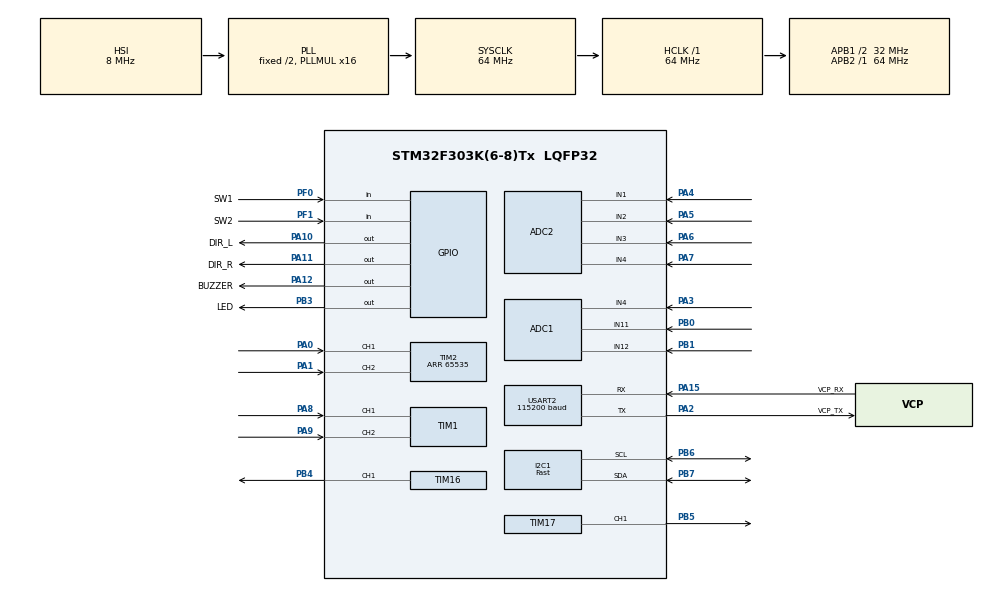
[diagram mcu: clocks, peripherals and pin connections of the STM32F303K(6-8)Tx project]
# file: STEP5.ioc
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ADC1.Channel-3\#ChannelRegularConversion=ADC_CHANNEL_4
ADC1.Channel-4\#ChannelRegularConversion=ADC_CHANNEL_11
ADC1.Channel-5\#ChannelRegularConversion=ADC_CHANNEL_12
ADC1.ContinuousConvMode=DISABLE
ADC1.DMAContinuousRequests=ENABLE
ADC1.DiscontinuousConvMode=ENABLE
ADC1.ExternalTrigConv=ADC_EXTERNALTRIGCONV_T3_TRGO
ADC1.NbrOfConversion=3
ADC1.NbrOfConversionFlag=1
ADC1.NbrOfDiscConversion=3
ADC1.Offset-3\#ChannelRegularConversion=0
ADC1.Offset-4\#ChannelRegularConversion=0
ADC1.Offset-5\#ChannelRegularConversion=0
ADC1.OffsetNumber-3\#ChannelRegularConversion=ADC_OFFSET_NONE
ADC1.OffsetNumber-4\#ChannelRegularConversion=ADC_OFFSET_NONE
ADC1.OffsetNumber-5\#ChannelRegularConversion=ADC_OFFSET_NONE
ADC1.Rank-3\#ChannelRegularConversion=1
ADC1.Rank-4\#ChannelRegularConversion=2
ADC1.Rank-5\#ChannelRegularConversion=3
ADC1.SamplingTime-3\#ChannelRegularConversion=ADC_SAMPLETIME_4CYCLES_5
ADC1.SamplingTime-4\#ChannelRegularConversion=ADC_SAMPLETIME_4CYCLES_5
ADC1.SamplingTime-5\#ChannelRegularConversion=ADC_SAMPLETIME_4CYCLES_5
ADC1.SubFamily=STM32F303x8
ADC1.master=1
ADC2.Channel-3\#ChannelRegularConversion=ADC_CHANNEL_1
ADC2.Channel-4\#ChannelRegularConversion=ADC_CHANNEL_2
ADC2.Channel-5\#ChannelRegularConversion=ADC_CHANNEL_3
ADC2.Channel-6\#ChannelRegularConversion=ADC_CHANNEL_4
ADC2.ContinuousConvMode=DISABLE
ADC2.DMAContinuousRequests=ENABLE
ADC2.DiscontinuousConvMode=ENABLE
ADC2.ExternalTrigConv=ADC_EXTERNALTRIGCONV_T3_TRGO
ADC2.NbrOfConversion=4
ADC2.NbrOfConversionFlag=1
ADC2.NbrOfDiscConversion=4
ADC2.Offset-3\#ChannelRegularConversion=0
ADC2.Offset-4\#ChannelRegularConversion=0
ADC2.Offset-5\#ChannelRegularConversion=0
ADC2.Offset-6\#ChannelRegularConversion=0
ADC2.OffsetNumber-3\#ChannelRegularConversion=ADC_OFFSET_NONE
ADC2.OffsetNumber-4\#ChannelRegularConversion=ADC_OFFSET_NONE
ADC2.OffsetNumber-5\#ChannelRegularConversion=ADC_OFFSET_NONE
ADC2.OffsetNumber-6\#ChannelRegularConversion=ADC_OFFSET_NONE
ADC2.Rank-3\#ChannelRegularConversion=1
ADC2.Rank-4\#ChannelRegularConversion=2
ADC2.Rank-5\#ChannelRegularConversion=3
ADC2.Rank-6\#ChannelRegularConversion=4
ADC2.SamplingTime-3\#ChannelRegularConversion=ADC_SAMPLETIME_4CYCLES_5
ADC2.SamplingTime-4\#ChannelRegularConversion=ADC_SAMPLETIME_4CYCLES_5
ADC2.SamplingTime-5\#ChannelRegularConversion=ADC_SAMPLETIME_4CYCLES_5
ADC2.SamplingTime-6\#ChannelRegularConversion=ADC_SAMPLETIME_4CYCLES_5
ADC2.SubFamily=STM32F303x8
Dma.ADC1.0.Direction=DMA_PERIPH_TO_MEMORY
Dma.ADC1.0.Instance=DMA1_Channel1
Dma.ADC1.0.MemDataAlignment=DMA_MDATAALIGN_HALFWORD
Dma.ADC1.0.MemInc=DMA_MINC_ENABLE
Dma.ADC1.0.Mode=DMA_CIRCULAR
Dma.ADC1.0.PeriphDataAlignment=DMA_PDATAALIGN_HALFWORD
Dma.ADC1.0.PeriphInc=DMA_PINC_DISABLE
Dma.ADC1.0.Priority=DMA_PRIORITY_LOW
Dma.ADC2.1.Direction=DMA_PERIPH_TO_MEMORY
Dma.ADC2.1.Instance=DMA1_Channel2
Dma.ADC2.1.MemDataAlignment=DMA_MDATAALIGN_HALFWORD
Dma.ADC2.1.MemInc=DMA_MINC_ENABLE
Dma.ADC2.1.Mode=DMA_CIRCULAR
Dma.ADC2.1.PeriphDataAlignment=DMA_PDATAALIGN_HALFWORD
Dma.ADC2.1.PeriphInc=DMA_PINC_DISABLE
Dma.ADC2.1.Priority=DMA_PRIORITY_LOW
Dma.I2C1_RX.2.Direction=DMA_PERIPH_TO_MEMORY
Dma.I2C1_RX.2.Instance=DMA1_Channel3
Dma.I2C1_RX.2.MemDataAlignment=DMA_MDATAALIGN_BYTE
Dma.I2C1_RX.2.MemInc=DMA_MINC_ENABLE
Dma.I2C1_RX.2.Mode=DMA_NORMAL
Dma.I2C1_RX.2.PeriphDataAlignment=DMA_PDATAALIGN_BYTE
Dma.I2C1_RX.2.PeriphInc=DMA_PINC_DISABLE
Dma.I2C1_RX.2.Priority=DMA_PRIORITY_LOW
Dma.I2C1_TX.3.Direction=DMA_MEMORY_TO_PERIPH
Dma.I2C1_TX.3.Instance=DMA1_Channel4
Dma.I2C1_TX.3.MemDataAlignment=DMA_MDATAALIGN_BYTE
Dma.I2C1_TX.3.MemInc=DMA_MINC_ENABLE
Dma.I2C1_TX.3.Mode=DMA_NORMAL
Dma.I2C1_TX.3.PeriphDataAlignment=DMA_PDATAALIGN_BYTE
Dma.I2C1_TX.3.PeriphInc=DMA_PINC_DISABLE
Dma.I2C1_TX.3.Priority=DMA_PRIORITY_LOW
Dma.Request0=ADC1
Dma.Request1=ADC2
Dma.Request2=I2C1_RX
Dma.Request3=I2C1_TX
I2C1.Analog_Filter=I2C_ANALOGFILTER_ENABLE
I2C1.I2C_Speed_Mode=I2C_Fast
I2C1.Speed=400
I2C1.Timing=0x0000020B
Mcu.Family=STM32F3
Mcu.Name=STM32F303K(6-8)Tx
Mcu.Package=LQFP32
NVIC.DMA1_Channel1_IRQn=true\:0\:0\:false\:false\:true\:false\:true\:true
NVIC.DMA1_Channel2_IRQn=true\:0\:0\:false\:false\:true\:false\:true\:true
NVIC.DMA1_Channel3_IRQn=true\:0\:0\:false\:false\:true\:false\:true\:true
NVIC.DMA1_Channel4_IRQn=true\:0\:0\:false\:false\:true\:false\:true\:true
NVIC.I2C1_EV_IRQn=true\:0\:0\:false\:false\:true\:true\:true\:true
NVIC.PriorityGroup=NVIC_PRIORITYGROUP_4
NVIC.TIM6_DAC1_IRQn=true\:0\:0\:false\:false\:true\:true\:true\:true
NVIC.TIM7_DAC2_IRQn=true\:0\:0\:false\:false\:true\:true\:true\:true
PA0.Signal=S_TIM2_CH1_ETR
PA1.Signal=S_TIM2_CH2
PA10.GPIO_Label=DIR_L
PA10.Signal=GPIO_Output
PA11.GPIO_Label=DIR_R
PA11.Signal=GPIO_Output
PA12.GPIO_Label=BUZZER
PA12.Signal=GPIO_Output
PA13.GPIO_Label=SWDIO
PA13.Mode=Serial_Wire
PA13.Signal=SYS_JTMS-SWDIO
PA14.GPIO_Label=SWCLK
PA14.Mode=Serial_Wire
PA14.Signal=SYS_JTCK-SWCLK
PA15.GPIO_Label=VCP_RX
PA15.Mode=Asynchronous
PA15.Signal=USART2_RX
PA2.GPIO_Label=VCP_TX
PA2.Mode=Asynchronous
PA2.Signal=USART2_TX
PA3.Mode=IN4-Single-Ended
PA3.Signal=ADC1_IN4
PA4.Mode=IN1-Single-Ended
PA4.Signal=ADC2_IN1
PA5.Mode=IN2-Single-Ended
PA5.Signal=ADC2_IN2
PA6.Mode=IN3-Single-Ended
PA6.Signal=ADC2_IN3
PA7.Mode=IN4-Single-Ended
PA7.Signal=ADC2_IN4
PA8.Signal=S_TIM1_CH1
PA9.Signal=S_TIM1_CH2
PB0.Mode=IN11-Single-Ended
PB0.Signal=ADC1_IN11
PB1.Mode=IN12-Single-Ended
PB1.Signal=ADC1_IN12
PB3.GPIO_Label=LED
PB3.Signal=GPIO_Output
PB4.Signal=S_TIM16_CH1
PB5.Signal=S_TIM17_CH1
PB6.GPIO_Pu=GPIO_PULLUP
PB6.Mode=I2C
PB6.Signal=I2C1_SCL
PB7.GPIO_Pu=GPIO_PULLUP
PB7.Mode=I2C
PB7.Signal=I2C1_SDA
PF0\ /\ OSC_IN.GPIO_Label=SW1
PF0\ /\ OSC_IN.GPIO_PuPd=GPIO_PULLUP
PF0\ /\ OSC_IN.Signal=GPIO_Input
PF1\ /\ OSC_OUT.GPIO_Label=SW2
PF1\ /\ OSC_OUT.GPIO_PuPd=GPIO_PULLUP
PF1\ /\ OSC_OUT.Signal=GPIO_Input
ProjectManager.HeapSize=0x200
ProjectManager.StackSize=0x400
ProjectManager.TargetToolchain=STM32CubeIDE
RCC.AHBFreq_Value=64000000
RCC.APB1CLKDivider=RCC_HCLK_DIV2
RCC.APB1Freq_Value=32000000
RCC.APB1TimFreq_Value=64000000
RCC.APB2Freq_Value=64000000
RCC.APB2TimFreq_Value=64000000
RCC.CortexFreq_Value=64000000
RCC.HCLKFreq_Value=64000000
RCC.HSE_VALUE=8000000
RCC.HSI_VALUE=8000000
RCC.PLLMUL=RCC_PLL_MUL16
RCC.SYSCLKFreq_VALUE=64000000
RCC.SYSCLKSourceVirtual=RCC_SYSCLKSOURCE_PLLCLK
SH.S_TIM16_CH1.0=TIM16_CH1,PWM Generation1 CH1
SH.S_TIM17_CH1.0=TIM17_CH1,PWM Generation1 CH1
SH.S_TIM1_CH1.0=TIM1_CH1,Encoder_Interface
SH.S_TIM1_CH2.0=TIM1_CH2,Encoder_Interface
SH.S_TIM2_CH1_ETR.0=TIM2_CH1,Encoder_Interface
SH.S_TIM2_CH2.0=TIM2_CH2,Encoder_Interface
TIM1.AutoReloadPreload=TIM_AUTORELOAD_PRELOAD_ENABLE
TIM1.EncoderMode=TIM_ENCODERMODE_TI12
TIM16.AutoReloadPreload=TIM_AUTORELOAD_PRELOAD_ENABLE
TIM16.Channel=TIM_CHANNEL_1
TIM16.Period=3199
TIM16.Pulse=599
TIM17.AutoReloadPreload=TIM_AUTORELOAD_PRELOAD_ENABLE
TIM17.Channel=TIM_CHANNEL_1
TIM17.Period=3199
TIM17.Prescaler=0
TIM17.Pulse=599
TIM2.AutoReloadPreload=TIM_AUTORELOAD_PRELOAD_ENABLE
TIM2.EncoderMode=TIM_ENCODERMODE_TI12
TIM2.Period=65535
TIM3.AutoReloadPreload=TIM_AUTORELOAD_PRELOAD_ENABLE
TIM3.Period=999
TIM3.Prescaler=63
TIM3.TIM_MasterOutputTrigger=TIM_TRGO_UPDATE
TIM6.AutoReloadPreload=TIM_AUTORELOAD_PRELOAD_ENABLE
TIM6.Period=499
TIM6.Prescaler=63
TIM7.AutoReloadPreload=TIM_AUTORELOAD_PRELOAD_ENABLE
TIM7.Period=9999
TIM7.Prescaler=63
USART2.BaudRate=115200
USART2.VirtualMode-Asynchronous=VM_ASYNC
VP_TIM16_VS_ClockSourceINT.Mode=Enable_Timer
VP_TIM17_VS_ClockSourceINT.Mode=Enable_Timer
VP_TIM3_VS_ClockSourceINT.Mode=Internal
VP_TIM6_VS_ClockSourceINT.Mode=Enable_Timer
VP_TIM7_VS_ClockSourceINT.Mode=Enable_Timer
board=NUCLEO-F303K8

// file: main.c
/* USER CODE BEGIN Header */
/**
  ******************************************************************************
  * @file           : main.c
  * @brief          : Main program body
  ******************************************************************************
  * @attention
  *
  * Copyright (c) 2020 RT Corporation
  * License: Apache License, Version 2.0
  * https://www.apache.org/licenses/LICENSE-2.0
  *
  * This file is licensed the Apache License, Version 2.0.
  * This file is based on the auto generated template .c file
  * released by STMicroelectronics licensed under the BSD 3-Clause License.
  *
  *=*=*=*=*=*=*=*=*=*=*=*=*=*=*=*=*=*=*=*=*=*=*=*=*=*=*=*=*=*=*=*=*=*=*=*=*=*=
  * <h2><center>&copy; Copyright (c) 2020 STMicroelectronics.
  * All rights reserved.</center></h2>
  *
  * This software component is licensed by ST under BSD 3-Clause license,
  * the "License"; You may not use this file except in compliance with the
  * License. You may obtain a copy of the License at:
  *                        opensource.org/licenses/BSD-3-Clause
  *=*=*=*=*=*=*=*=*=*=*=*=*=*=*=*=*=*=*=*=*=*=*=*=*=*=*=*=*=*=*=*=*=*=*=*=*=*=
  *
  ******************************************************************************
  */
/* USER CODE END Header */
#include "main.h"

/* USER CODE BEGIN Includes */
#include "stdio.h"
/* USER CODE END Includes */

ADC_HandleTypeDef hadc1;
ADC_HandleTypeDef hadc2;
DMA_HandleTypeDef hdma_adc1;
DMA_HandleTypeDef hdma_adc2;

I2C_HandleTypeDef hi2c1;
DMA_HandleTypeDef hdma_i2c1_rx;
DMA_HandleTypeDef hdma_i2c1_tx;

TIM_HandleTypeDef htim1;
TIM_HandleTypeDef htim2;
TIM_HandleTypeDef htim3;
TIM_HandleTypeDef htim6;
TIM_HandleTypeDef htim7;
TIM_HandleTypeDef htim16;
TIM_HandleTypeDef htim17;

UART_HandleTypeDef huart2;

void SystemClock_Config(void);
static void MX_GPIO_Init(void);
static void MX_DMA_Init(void);
static void MX_USART2_UART_Init(void);
static void MX_I2C1_Init(void);
static void MX_TIM2_Init(void);
static void MX_TIM17_Init(void);
static void MX_ADC1_Init(void);
static void MX_ADC2_Init(void);
static void MX_TIM3_Init(void);
static void MX_TIM6_Init(void);
static void MX_TIM7_Init(void);
static void MX_TIM16_Init(void);
static void MX_TIM1_Init(void);
/* USER CODE BEGIN PFP */
short ADC1_data[10];
short ADC2_data[10];
/* USER CODE END PFP */

/* USER CODE BEGIN 0 */
int __io_putchar(int ch)
{
  HAL_UART_Transmit(&huart2, (uint8_t *)&ch, 1, 0xFFFF);
  return ch;
}
/* USER CODE END 0 */

int main(void)
{

  /* MCU Configuration--------------------------------------------------------*/

  /* Reset of all peripherals, Initializes the Flash interface and the Systick. */
  HAL_Init();

  /* Configure the system clock */
  SystemClock_Config();

  /* Initialize all configured peripherals */
  MX_GPIO_Init();
  MX_DMA_Init();
  MX_USART2_UART_Init();
  MX_I2C1_Init();
  MX_TIM2_Init();
  MX_TIM17_Init();
  MX_ADC1_Init();
  MX_ADC2_Init();
  MX_TIM3_Init();
  MX_TIM6_Init();
  MX_TIM7_Init();
  MX_TIM16_Init();
  MX_TIM1_Init();
  /* USER CODE BEGIN 2 */
  //ADC start
  HAL_ADC_Start_DMA(&hadc1, (uint32_t *)ADC1_data, 3);
  HAL_ADC_Start_DMA(&hadc2, (uint32_t *)ADC2_data, 4);
  HAL_TIM_Base_Start(&htim3);  //1kHz
  /* USER CODE END 2 */

  /* Infinite loop */
  /* USER CODE BEGIN WHILE */
  while (1) {
    printf(
      "\n\r LL2=%d LL1=%d LR1=%d LR2=%d", ADC2_data[2], ADC2_data[1], ADC2_data[0], ADC1_data[0]);
    HAL_GPIO_WritePin(LED_GPIO_Port, LED_Pin, 1);
    HAL_Delay(100);
    HAL_GPIO_WritePin(LED_GPIO_Port, LED_Pin, 0);
    HAL_Delay(100);
    /* USER CODE END WHILE */

  }
}

void SystemClock_Config(void)
{
  RCC_OscInitTypeDef RCC_OscInitStruct = {0};
  RCC_ClkInitTypeDef RCC_ClkInitStruct = {0};
  RCC_PeriphCLKInitTypeDef PeriphClkInit = {0};

  /** Initializes the RCC Oscillators according to the specified parameters
  * in the RCC_OscInitTypeDef structure.
  */
  RCC_OscInitStruct.OscillatorType = RCC_OSCILLATORTYPE_HSI;
  RCC_OscInitStruct.HSIState = RCC_HSI_ON;
  RCC_OscInitStruct.HSICalibrationValue = RCC_HSICALIBRATION_DEFAULT;
  RCC_OscInitStruct.PLL.PLLState = RCC_PLL_ON;
  RCC_OscInitStruct.PLL.PLLSource = RCC_PLLSOURCE_HSI;
  RCC_OscInitStruct.PLL.PLLMUL = RCC_PLL_MUL16;
  if (HAL_RCC_OscConfig(&RCC_OscInitStruct) != HAL_OK) {
    Error_Handler();
  }

  /** Initializes the CPU, AHB and APB buses clocks
  */
  RCC_ClkInitStruct.ClockType =
    RCC_CLOCKTYPE_HCLK | RCC_CLOCKTYPE_SYSCLK | RCC_CLOCKTYPE_PCLK1 | RCC_CLOCKTYPE_PCLK2;
  RCC_ClkInitStruct.SYSCLKSource = RCC_SYSCLKSOURCE_PLLCLK;
  RCC_ClkInitStruct.AHBCLKDivider = RCC_SYSCLK_DIV1;
  RCC_ClkInitStruct.APB1CLKDivider = RCC_HCLK_DIV2;
  RCC_ClkInitStruct.APB2CLKDivider = RCC_HCLK_DIV1;

  if (HAL_RCC_ClockConfig(&RCC_ClkInitStruct, FLASH_LATENCY_2) != HAL_OK) {
    Error_Handler();
  }
  PeriphClkInit.PeriphClockSelection =
    RCC_PERIPHCLK_I2C1 | RCC_PERIPHCLK_TIM1 | RCC_PERIPHCLK_ADC12;
  PeriphClkInit.Adc12ClockSelection = RCC_ADC12PLLCLK_DIV1;
  PeriphClkInit.I2c1ClockSelection = RCC_I2C1CLKSOURCE_HSI;
  PeriphClkInit.Tim1ClockSelection = RCC_TIM1CLK_HCLK;
  if (HAL_RCCEx_PeriphCLKConfig(&PeriphClkInit) != HAL_OK) {
    Error_Handler();
  }
}

static void MX_ADC1_Init(void)
{

  ADC_MultiModeTypeDef multimode = {0};
  ADC_ChannelConfTypeDef sConfig = {0};

  /** Common config
  */
  hadc1.Instance = ADC1;
  hadc1.Init.ClockPrescaler = ADC_CLOCK_ASYNC_DIV1;
  hadc1.Init.Resolution = ADC_RESOLUTION_12B;
  hadc1.Init.ScanConvMode = ADC_SCAN_ENABLE;
  hadc1.Init.ContinuousConvMode = DISABLE;
  hadc1.Init.DiscontinuousConvMode = ENABLE;
  hadc1.Init.NbrOfDiscConversion = 3;
  hadc1.Init.ExternalTrigConvEdge = ADC_EXTERNALTRIGCONVEDGE_RISING;
  hadc1.Init.ExternalTrigConv = ADC_EXTERNALTRIGCONV_T3_TRGO;
  hadc1.Init.DataAlign = ADC_DATAALIGN_RIGHT;
  hadc1.Init.NbrOfConversion = 3;
  hadc1.Init.DMAContinuousRequests = ENABLE;
  hadc1.Init.EOCSelection = ADC_EOC_SINGLE_CONV;
  hadc1.Init.LowPowerAutoWait = DISABLE;
  hadc1.Init.Overrun = ADC_OVR_DATA_OVERWRITTEN;
  if (HAL_ADC_Init(&hadc1) != HAL_OK) {
    Error_Handler();
  }

  /** Configure the ADC multi-mode
  */
  multimode.Mode = ADC_MODE_INDEPENDENT;
  if (HAL_ADCEx_MultiModeConfigChannel(&hadc1, &multimode) != HAL_OK) {
    Error_Handler();
  }

  /** Configure Regular Channel
  */
  sConfig.Channel = ADC_CHANNEL_4;
  sConfig.Rank = ADC_REGULAR_RANK_1;
  sConfig.SingleDiff = ADC_SINGLE_ENDED;
  sConfig.SamplingTime = ADC_SAMPLETIME_4CYCLES_5;
  sConfig.OffsetNumber = ADC_OFFSET_NONE;
  sConfig.Offset = 0;
  if (HAL_ADC_ConfigChannel(&hadc1, &sConfig) != HAL_OK) {
    Error_Handler();
  }

  /** Configure Regular Channel
  */
  sConfig.Channel = ADC_CHANNEL_11;
  sConfig.Rank = ADC_REGULAR_RANK_2;
  if (HAL_ADC_ConfigChannel(&hadc1, &sConfig) != HAL_OK) {
    Error_Handler();
  }

  /** Configure Regular Channel
  */
  sConfig.Channel = ADC_CHANNEL_12;
  sConfig.Rank = ADC_REGULAR_RANK_3;
  if (HAL_ADC_ConfigChannel(&hadc1, &sConfig) != HAL_OK) {
    Error_Handler();
  }
}

static void MX_ADC2_Init(void)
{

  ADC_ChannelConfTypeDef sConfig = {0};

  /** Common config
  */
  hadc2.Instance = ADC2;
  hadc2.Init.ClockPrescaler = ADC_CLOCK_ASYNC_DIV1;
  hadc2.Init.Resolution = ADC_RESOLUTION_12B;
  hadc2.Init.ScanConvMode = ADC_SCAN_ENABLE;
  hadc2.Init.ContinuousConvMode = DISABLE;
  hadc2.Init.DiscontinuousConvMode = ENABLE;
  hadc2.Init.NbrOfDiscConversion = 4;
  hadc2.Init.ExternalTrigConvEdge = ADC_EXTERNALTRIGCONVEDGE_RISING;
  hadc2.Init.ExternalTrigConv = ADC_EXTERNALTRIGCONV_T3_TRGO;
  hadc2.Init.DataAlign = ADC_DATAALIGN_RIGHT;
  hadc2.Init.NbrOfConversion = 4;
  hadc2.Init.DMAContinuousRequests = ENABLE;
  hadc2.Init.EOCSelection = ADC_EOC_SINGLE_CONV;
  hadc2.Init.LowPowerAutoWait = DISABLE;
  hadc2.Init.Overrun = ADC_OVR_DATA_OVERWRITTEN;
  if (HAL_ADC_Init(&hadc2) != HAL_OK) {
    Error_Handler();
  }

  /** Configure Regular Channel
  */
  sConfig.Channel = ADC_CHANNEL_1;
  sConfig.Rank = ADC_REGULAR_RANK_1;
  sConfig.SingleDiff = ADC_SINGLE_ENDED;
  sConfig.SamplingTime = ADC_SAMPLETIME_4CYCLES_5;
  sConfig.OffsetNumber = ADC_OFFSET_NONE;
  sConfig.Offset = 0;
  if (HAL_ADC_ConfigChannel(&hadc2, &sConfig) != HAL_OK) {
    Error_Handler();
  }

  /** Configure Regular Channel
  */
  sConfig.Channel = ADC_CHANNEL_2;
  sConfig.Rank = ADC_REGULAR_RANK_2;
  if (HAL_ADC_ConfigChannel(&hadc2, &sConfig) != HAL_OK) {
    Error_Handler();
  }

  /** Configure Regular Channel
  */
  sConfig.Channel = ADC_CHANNEL_3;
  sConfig.Rank = ADC_REGULAR_RANK_3;
  if (HAL_ADC_ConfigChannel(&hadc2, &sConfig) != HAL_OK) {
    Error_Handler();
  }

  /** Configure Regular Channel
  */
  sConfig.Channel = ADC_CHANNEL_4;
  sConfig.Rank = ADC_REGULAR_RANK_4;
  if (HAL_ADC_ConfigChannel(&hadc2, &sConfig) != HAL_OK) {
    Error_Handler();
  }
}

static void MX_I2C1_Init(void)
{

  hi2c1.Instance = I2C1;
  hi2c1.Init.Timing = 0x0000020B;
  hi2c1.Init.OwnAddress1 = 0;
  hi2c1.Init.AddressingMode = I2C_ADDRESSINGMODE_7BIT;
  hi2c1.Init.DualAddressMode = I2C_DUALADDRESS_DISABLE;
  hi2c1.Init.OwnAddress2 = 0;
  hi2c1.Init.OwnAddress2Masks = I2C_OA2_NOMASK;
  hi2c1.Init.GeneralCallMode = I2C_GENERALCALL_DISABLE;
  hi2c1.Init.NoStretchMode = I2C_NOSTRETCH_DISABLE;
  if (HAL_I2C_Init(&hi2c1) != HAL_OK) {
    Error_Handler();
  }

  /** Configure Analogue filter
  */
  if (HAL_I2CEx_ConfigAnalogFilter(&hi2c1, I2C_ANALOGFILTER_ENABLE) != HAL_OK) {
    Error_Handler();
  }

  /** Configure Digital filter
  */
  if (HAL_I2CEx_ConfigDigitalFilter(&hi2c1, 0) != HAL_OK) {
    Error_Handler();
  }
}

static void MX_TIM1_Init(void)
{

  TIM_Encoder_InitTypeDef sConfig = {0};
  TIM_MasterConfigTypeDef sMasterConfig = {0};

  htim1.Instance = TIM1;
  htim1.Init.Prescaler = 0;
  htim1.Init.CounterMode = TIM_COUNTERMODE_UP;
  htim1.Init.Period = 65535;
  htim1.Init.ClockDivision = TIM_CLOCKDIVISION_DIV1;
  htim1.Init.RepetitionCounter = 0;
  htim1.Init.AutoReloadPreload = TIM_AUTORELOAD_PRELOAD_ENABLE;
  sConfig.EncoderMode = TIM_ENCODERMODE_TI12;
  sConfig.IC1Polarity = TIM_ICPOLARITY_RISING;
  sConfig.IC1Selection = TIM_ICSELECTION_DIRECTTI;
  sConfig.IC1Prescaler = TIM_ICPSC_DIV1;
  sConfig.IC1Filter = 0;
  sConfig.IC2Polarity = TIM_ICPOLARITY_RISING;
  sConfig.IC2Selection = TIM_ICSELECTION_DIRECTTI;
  sConfig.IC2Prescaler = TIM_ICPSC_DIV1;
  sConfig.IC2Filter = 0;
  if (HAL_TIM_Encoder_Init(&htim1, &sConfig) != HAL_OK) {
    Error_Handler();
  }
  sMasterConfig.MasterOutputTrigger = TIM_TRGO_RESET;
  sMasterConfig.MasterOutputTrigger2 = TIM_TRGO2_RESET;
  sMasterConfig.MasterSlaveMode = TIM_MASTERSLAVEMODE_DISABLE;
  if (HAL_TIMEx_MasterConfigSynchronization(&htim1, &sMasterConfig) != HAL_OK) {
    Error_Handler();
  }
}

static void MX_TIM2_Init(void)
{

  TIM_Encoder_InitTypeDef sConfig = {0};
  TIM_MasterConfigTypeDef sMasterConfig = {0};

  htim2.Instance = TIM2;
  htim2.Init.Prescaler = 0;
  htim2.Init.CounterMode = TIM_COUNTERMODE_UP;
  htim2.Init.Period = 65535;
  htim2.Init.ClockDivision = TIM_CLOCKDIVISION_DIV1;
  htim2.Init.AutoReloadPreload = TIM_AUTORELOAD_PRELOAD_ENABLE;
  sConfig.EncoderMode = TIM_ENCODERMODE_TI12;
  sConfig.IC1Polarity = TIM_ICPOLARITY_RISING;
  sConfig.IC1Selection = TIM_ICSELECTION_DIRECTTI;
  sConfig.IC1Prescaler = TIM_ICPSC_DIV1;
  sConfig.IC1Filter = 0;
  sConfig.IC2Polarity = TIM_ICPOLARITY_RISING;
  sConfig.IC2Selection = TIM_ICSELECTION_DIRECTTI;
  sConfig.IC2Prescaler = TIM_ICPSC_DIV1;
  sConfig.IC2Filter = 0;
  if (HAL_TIM_Encoder_Init(&htim2, &sConfig) != HAL_OK) {
    Error_Handler();
  }
  sMasterConfig.MasterOutputTrigger = TIM_TRGO_RESET;
  sMasterConfig.MasterSlaveMode = TIM_MASTERSLAVEMODE_DISABLE;
  if (HAL_TIMEx_MasterConfigSynchronization(&htim2, &sMasterConfig) != HAL_OK) {
    Error_Handler();
  }
}

static void MX_TIM3_Init(void)
{

  TIM_ClockConfigTypeDef sClockSourceConfig = {0};
  TIM_MasterConfigTypeDef sMasterConfig = {0};

  htim3.Instance = TIM3;
  htim3.Init.Prescaler = 63;
  htim3.Init.CounterMode = TIM_COUNTERMODE_UP;
  htim3.Init.Period = 999;
  htim3.Init.ClockDivision = TIM_CLOCKDIVISION_DIV1;
  htim3.Init.AutoReloadPreload = TIM_AUTORELOAD_PRELOAD_ENABLE;
  if (HAL_TIM_Base_Init(&htim3) != HAL_OK) {
    Error_Handler();
  }
  sClockSourceConfig.ClockSource = TIM_CLOCKSOURCE_INTERNAL;
  if (HAL_TIM_ConfigClockSource(&htim3, &sClockSourceConfig) != HAL_OK) {
    Error_Handler();
  }
  sMasterConfig.MasterOutputTrigger = TIM_TRGO_UPDATE;
  sMasterConfig.MasterSlaveMode = TIM_MASTERSLAVEMODE_DISABLE;
  if (HAL_TIMEx_MasterConfigSynchronization(&htim3, &sMasterConfig) != HAL_OK) {
    Error_Handler();
  }
}

static void MX_TIM6_Init(void)
{

  TIM_MasterConfigTypeDef sMasterConfig = {0};

  htim6.Instance = TIM6;
  htim6.Init.Prescaler = 63;
  htim6.Init.CounterMode = TIM_COUNTERMODE_UP;
  htim6.Init.Period = 499;
  htim6.Init.AutoReloadPreload = TIM_AUTORELOAD_PRELOAD_ENABLE;
  if (HAL_TIM_Base_Init(&htim6) != HAL_OK) {
    Error_Handler();
  }
  sMasterConfig.MasterOutputTrigger = TIM_TRGO_RESET;
  sMasterConfig.MasterSlaveMode = TIM_MASTERSLAVEMODE_DISABLE;
  if (HAL_TIMEx_MasterConfigSynchronization(&htim6, &sMasterConfig) != HAL_OK) {
    Error_Handler();
  }
}

static void MX_TIM7_Init(void)
{

  TIM_MasterConfigTypeDef sMasterConfig = {0};

  htim7.Instance = TIM7;
  htim7.Init.Prescaler = 63;
  htim7.Init.CounterMode = TIM_COUNTERMODE_UP;
  htim7.Init.Period = 9999;
  htim7.Init.AutoReloadPreload = TIM_AUTORELOAD_PRELOAD_ENABLE;
  if (HAL_TIM_Base_Init(&htim7) != HAL_OK) {
    Error_Handler();
  }
  sMasterConfig.MasterOutputTrigger = TIM_TRGO_RESET;
  sMasterConfig.MasterSlaveMode = TIM_MASTERSLAVEMODE_DISABLE;
  if (HAL_TIMEx_MasterConfigSynchronization(&htim7, &sMasterConfig) != HAL_OK) {
    Error_Handler();
  }
}

static void MX_TIM16_Init(void)
{

  TIM_OC_InitTypeDef sConfigOC = {0};
  TIM_BreakDeadTimeConfigTypeDef sBreakDeadTimeConfig = {0};

  htim16.Instance = TIM16;
  htim16.Init.Prescaler = 0;
  htim16.Init.CounterMode = TIM_COUNTERMODE_UP;
  htim16.Init.Period = 3199;
  htim16.Init.ClockDivision = TIM_CLOCKDIVISION_DIV1;
  htim16.Init.RepetitionCounter = 0;
  htim16.Init.AutoReloadPreload = TIM_AUTORELOAD_PRELOAD_ENABLE;
  if (HAL_TIM_Base_Init(&htim16) != HAL_OK) {
    Error_Handler();
  }
  if (HAL_TIM_PWM_Init(&htim16) != HAL_OK) {
    Error_Handler();
  }
  sConfigOC.OCMode = TIM_OCMODE_PWM1;
  sConfigOC.Pulse = 599;
  sConfigOC.OCPolarity = TIM_OCPOLARITY_HIGH;
  sConfigOC.OCNPolarity = TIM_OCNPOLARITY_HIGH;
  sConfigOC.OCFastMode = TIM_OCFAST_DISABLE;
  sConfigOC.OCIdleState = TIM_OCIDLESTATE_RESET;
  sConfigOC.OCNIdleState = TIM_OCNIDLESTATE_RESET;
  if (HAL_TIM_PWM_ConfigChannel(&htim16, &sConfigOC, TIM_CHANNEL_1) != HAL_OK) {
    Error_Handler();
  }
  sBreakDeadTimeConfig.OffStateRunMode = TIM_OSSR_DISABLE;
  sBreakDeadTimeConfig.OffStateIDLEMode = TIM_OSSI_DISABLE;
  sBreakDeadTimeConfig.LockLevel = TIM_LOCKLEVEL_OFF;
  sBreakDeadTimeConfig.DeadTime = 0;
  sBreakDeadTimeConfig.BreakState = TIM_BREAK_DISABLE;
  sBreakDeadTimeConfig.BreakPolarity = TIM_BREAKPOLARITY_HIGH;
  sBreakDeadTimeConfig.BreakFilter = 0;
  sBreakDeadTimeConfig.AutomaticOutput = TIM_AUTOMATICOUTPUT_DISABLE;
  if (HAL_TIMEx_ConfigBreakDeadTime(&htim16, &sBreakDeadTimeConfig) != HAL_OK) {
    Error_Handler();
  }
  HAL_TIM_MspPostInit(&htim16);
}

static void MX_TIM17_Init(void)
{

  TIM_OC_InitTypeDef sConfigOC = {0};
  TIM_BreakDeadTimeConfigTypeDef sBreakDeadTimeConfig = {0};

  htim17.Instance = TIM17;
  htim17.Init.Prescaler = 0;
  htim17.Init.CounterMode = TIM_COUNTERMODE_UP;
  htim17.Init.Period = 3199;
  htim17.Init.ClockDivision = TIM_CLOCKDIVISION_DIV1;
  htim17.Init.RepetitionCounter = 0;
  htim17.Init.AutoReloadPreload = TIM_AUTORELOAD_PRELOAD_ENABLE;
  if (HAL_TIM_Base_Init(&htim17) != HAL_OK) {
    Error_Handler();
  }
  if (HAL_TIM_PWM_Init(&htim17) != HAL_OK) {
    Error_Handler();
  }
  sConfigOC.OCMode = TIM_OCMODE_PWM1;
  sConfigOC.Pulse = 599;
  sConfigOC.OCPolarity = TIM_OCPOLARITY_HIGH;
  sConfigOC.OCNPolarity = TIM_OCNPOLARITY_HIGH;
  sConfigOC.OCFastMode = TIM_OCFAST_DISABLE;
  sConfigOC.OCIdleState = TIM_OCIDLESTATE_RESET;
  sConfigOC.OCNIdleState = TIM_OCNIDLESTATE_RESET;
  if (HAL_TIM_PWM_ConfigChannel(&htim17, &sConfigOC, TIM_CHANNEL_1) != HAL_OK) {
    Error_Handler();
  }
  sBreakDeadTimeConfig.OffStateRunMode = TIM_OSSR_DISABLE;
  sBreakDeadTimeConfig.OffStateIDLEMode = TIM_OSSI_DISABLE;
  sBreakDeadTimeConfig.LockLevel = TIM_LOCKLEVEL_OFF;
  sBreakDeadTimeConfig.DeadTime = 0;
  sBreakDeadTimeConfig.BreakState = TIM_BREAK_DISABLE;
  sBreakDeadTimeConfig.BreakPolarity = TIM_BREAKPOLARITY_HIGH;
  sBreakDeadTimeConfig.BreakFilter = 0;
  sBreakDeadTimeConfig.AutomaticOutput = TIM_AUTOMATICOUTPUT_DISABLE;
  if (HAL_TIMEx_ConfigBreakDeadTime(&htim17, &sBreakDeadTimeConfig) != HAL_OK) {
    Error_Handler();
  }
  HAL_TIM_MspPostInit(&htim17);
}

static void MX_USART2_UART_Init(void)
{

  huart2.Instance = USART2;
  huart2.Init.BaudRate = 115200;
  huart2.Init.WordLength = UART_WORDLENGTH_8B;
  huart2.Init.StopBits = UART_STOPBITS_1;
  huart2.Init.Parity = UART_PARITY_NONE;
  huart2.Init.Mode = UART_MODE_TX_RX;
  huart2.Init.HwFlowCtl = UART_HWCONTROL_NONE;
  huart2.Init.OverSampling = UART_OVERSAMPLING_16;
  huart2.Init.OneBitSampling = UART_ONE_BIT_SAMPLE_DISABLE;
  huart2.AdvancedInit.AdvFeatureInit = UART_ADVFEATURE_NO_INIT;
  if (HAL_UART_Init(&huart2) != HAL_OK) {
    Error_Handler();
  }
}

static void MX_DMA_Init(void)
{
  /* DMA controller clock enable */
  __HAL_RCC_DMA1_CLK_ENABLE();

  /* DMA interrupt init */
  /* DMA1_Channel1_IRQn interrupt configuration */
  HAL_NVIC_SetPriority(DMA1_Channel1_IRQn, 0, 0);
  HAL_NVIC_EnableIRQ(DMA1_Channel1_IRQn);
  /* DMA1_Channel2_IRQn interrupt configuration */
  HAL_NVIC_SetPriority(DMA1_Channel2_IRQn, 0, 0);
  HAL_NVIC_EnableIRQ(DMA1_Channel2_IRQn);
  /* DMA1_Channel3_IRQn interrupt configuration */
  HAL_NVIC_SetPriority(DMA1_Channel3_IRQn, 0, 0);
  HAL_NVIC_EnableIRQ(DMA1_Channel3_IRQn);
  /* DMA1_Channel4_IRQn interrupt configuration */
  HAL_NVIC_SetPriority(DMA1_Channel4_IRQn, 0, 0);
  HAL_NVIC_EnableIRQ(DMA1_Channel4_IRQn);
}

static void MX_GPIO_Init(void)
{
  GPIO_InitTypeDef GPIO_InitStruct = {0};

  /* GPIO Ports Clock Enable */
  __HAL_RCC_GPIOF_CLK_ENABLE();
  __HAL_RCC_GPIOA_CLK_ENABLE();
  __HAL_RCC_GPIOB_CLK_ENABLE();

  /*Configure GPIO pin Output Level */
  HAL_GPIO_WritePin(GPIOA, DIR_L_Pin | DIR_R_Pin | BUZZER_Pin, GPIO_PIN_RESET);

  /*Configure GPIO pin Output Level */
  HAL_GPIO_WritePin(LED_GPIO_Port, LED_Pin, GPIO_PIN_RESET);

  /*Configure GPIO pins : SW1_Pin SW2_Pin */
  GPIO_InitStruct.Pin = SW1_Pin | SW2_Pin;
  GPIO_InitStruct.Mode = GPIO_MODE_INPUT;
  GPIO_InitStruct.Pull = GPIO_PULLUP;
  HAL_GPIO_Init(GPIOF, &GPIO_InitStruct);

  /*Configure GPIO pins : DIR_L_Pin DIR_R_Pin BUZZER_Pin */
  GPIO_InitStruct.Pin = DIR_L_Pin | DIR_R_Pin | BUZZER_Pin;
  GPIO_InitStruct.Mode = GPIO_MODE_OUTPUT_PP;
  GPIO_InitStruct.Pull = GPIO_NOPULL;
  GPIO_InitStruct.Speed = GPIO_SPEED_FREQ_LOW;
  HAL_GPIO_Init(GPIOA, &GPIO_InitStruct);

  /*Configure GPIO pin : LED_Pin */
  GPIO_InitStruct.Pin = LED_Pin;
  GPIO_InitStruct.Mode = GPIO_MODE_OUTPUT_PP;
  GPIO_InitStruct.Pull = GPIO_NOPULL;
  GPIO_InitStruct.Speed = GPIO_SPEED_FREQ_LOW;
  HAL_GPIO_Init(LED_GPIO_Port, &GPIO_InitStruct);

}

void Error_Handler(void)
{
}
